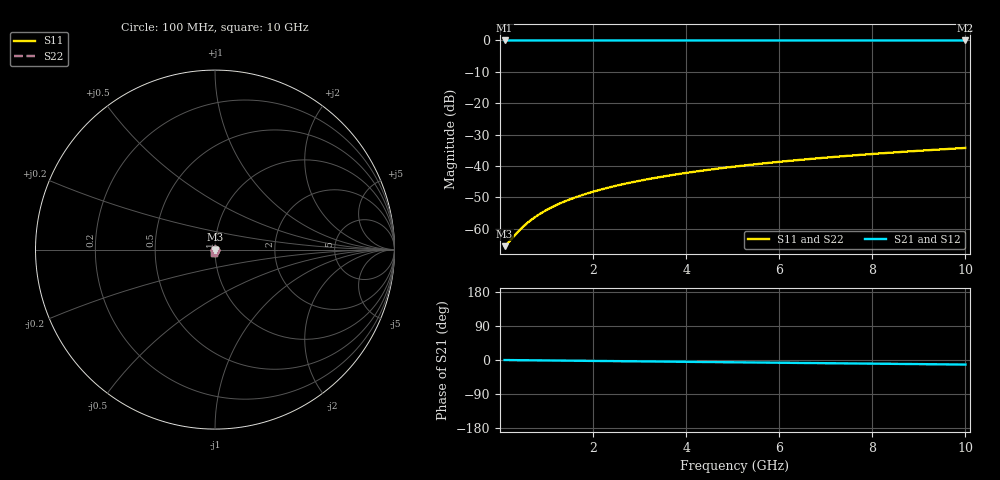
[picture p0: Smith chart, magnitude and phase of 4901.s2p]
# Hz S RI R 50.00
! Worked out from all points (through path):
!   100 points, 100 MHz to 10 GHz, reference 50 ohm
!   highest |S21| = 0.00 dB at 100 MHz (marker M1); lowest = 0.0 dB at 10 GHz (marker M2)
!   group delay of S21, straight-line fit = 3.35 ps
!   lowest |S11| = -65.5 dB at 100 MHz (marker M3), VSWR 1.00, Z = 50 - j0.0194 ohm
!   |S11| at or under -10 dB: start of sweep to end of sweep
!   |S22| runs from -65.5 to -34.2 dB; largest |S21 - S12| = 0
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1e8  0.000492 -0.000194  0.9995 -0.00209  0.9995 -0.00209  0.000492 -0.000194
2e8  0.000493 -0.000387  0.9995 -0.00418  0.9995 -0.00418  0.000493 -0.000387
4e8  0.00049 -0.000775  0.9995 -0.00835  0.9995 -0.00835  0.00049 -0.000775
5e8  0.000487 -0.000969  0.9994 -0.0104  0.9994 -0.0104  0.000487 -0.000969
6e8  0.000483 -0.00116  0.9994 -0.0125  0.9994 -0.0125  0.000483 -0.00116
7e8  0.000479 -0.00136  0.9994 -0.0146  0.9994 -0.0146  0.000479 -0.00136
8e8  0.000473 -0.00155  0.9993 -0.0167  0.9993 -0.0167  0.000473 -0.00155
1e9  0.000458 -0.00194  0.9993 -0.0209  0.9993 -0.0209  0.000458 -0.00194
1.2e9  0.000441 -0.00233  0.9992 -0.0251  0.9992 -0.0251  0.000441 -0.00233
1.5e9  0.000407 -0.00291  0.999 -0.0313  0.999 -0.0313  0.000407 -0.00291
1.8e9  0.000367 -0.00349  0.9987 -0.0376  0.9987 -0.0376  0.000367 -0.00349
2.1e9  0.000319 -0.00407  0.9985 -0.0439  0.9985 -0.0439  0.000319 -0.00407
2.5e9  0.000243 -0.00485  0.9981 -0.0522  0.9981 -0.0522  0.000243 -0.00485
2.9e9  0.000154 -0.00563  0.9976 -0.0606  0.9976 -0.0606  0.000154 -0.00563
3.4e9  2.36e-05 -0.0066  0.9969 -0.071  0.9969 -0.071  2.36e-05 -0.0066
4.2e9  -0.000227 -0.00815  0.9955 -0.0877  0.9955 -0.0877  -0.000227 -0.00815
5.1e9  -0.000572 -0.00988  0.9937 -0.1065  0.9937 -0.1065  -0.000572 -0.00988
5.9e9  -0.000934 -0.0114  0.9917 -0.1232  0.9917 -0.1232  -0.000934 -0.0114
6.7e9  -0.00135 -0.0129  0.9894 -0.1399  0.9894 -0.1399  -0.00135 -0.0129
7.5e9  -0.00181 -0.0145  0.9869 -0.1566  0.9869 -0.1566  -0.00181 -0.0145
8.4e9  -0.0024 -0.0161  0.9837 -0.1753  0.9837 -0.1753  -0.0024 -0.0161
1e10  -0.0036 -0.0191  0.9771 -0.2085  0.9771 -0.2085  -0.0036 -0.0191
